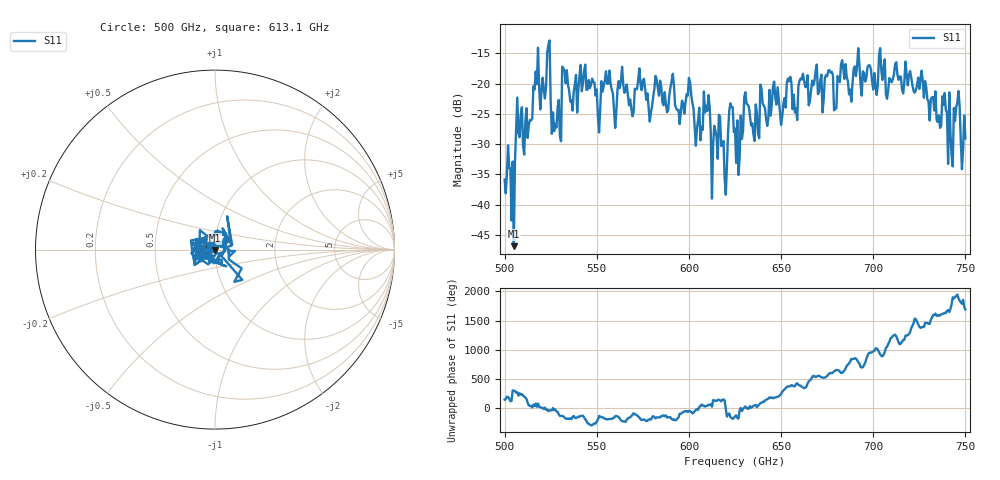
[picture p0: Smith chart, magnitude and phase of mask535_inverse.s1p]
!Created with skrf (http://scikit-rf.org).
# GHz S MA R 50.0
!freq magS11 angS11
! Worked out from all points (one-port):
!   401 points, 500 GHz to 750 GHz, reference 50 ohm
!   lowest |S11| = -46.9 dB at 505 GHz (marker M1), VSWR 1.01, Z = 50.2 - j0.419 ohm
!   |S11| at or under -10 dB: start of sweep to end of sweep
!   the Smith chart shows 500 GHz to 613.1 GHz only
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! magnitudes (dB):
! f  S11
! 500 GHz  -35.9
! 505 GHz  -46.9
! 507.5 GHz  -28.1
! 513.8 GHz  -26.0
! 516.9 GHz  -18.0
! 520.6 GHz  -19.0
! 523.8 GHz  -13.6
! 526.9 GHz  -27.9
! 531.2 GHz  -17.2
! 532.5 GHz  -17.9
! 550.6 GHz  -25.5
! 562.5 GHz  -20.7
! 568.8 GHz  -24.2
! 590.6 GHz  -19.6
! 593.8 GHz  -24.4
! 605 GHz  -26.0
! 609.4 GHz  -23.7
! 619.4 GHz  -35.6
! 622.5 GHz  -23.3
! 625 GHz  -27.4
! 656.2 GHz  -24.2
! 676.9 GHz  -18.2
! 680 GHz  -24.1
! 683.8 GHz  -17.6
! 687.5 GHz  -21.0
! 691.2 GHz  -17.1
! 718.8 GHz  -20.3
! 750 GHz  -29.0
